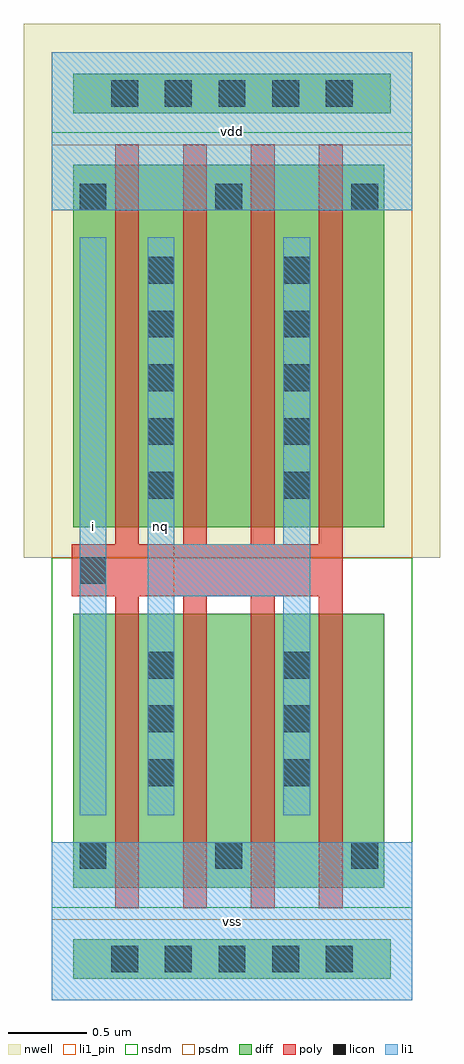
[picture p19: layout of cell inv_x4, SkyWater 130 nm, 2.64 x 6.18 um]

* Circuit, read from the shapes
.subckt inv_x4 i nq vdd vss
XM1 nq i vss VSUBS sky130_fd_pr__nfet_01v8 w=1.735 l=0.15 m=4
XM2 nq i vdd n1 sky130_fd_pr__pfet_01v8 w=2.295 l=0.15 m=4
.ends

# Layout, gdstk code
import gdstk
lib = gdstk.Library(unit=1e-6, precision=1e-09)
def R(c, l, rs):  # rectangles x0, y0, x1, y1
    for r in rs: c.add(gdstk.rectangle(r[:2], r[2:], *l))
def A(c, l, x, y, w, h, nx, ny, dx, dy):  # array of equal rectangles
    R(c, l, [(x+i*dx, y+j*dy, x+i*dx+w, y+j*dy+h) for i in range(nx) for j in range(ny)])
def P(c, l, *ps):  # polygons
    for p in ps: c.add(gdstk.Polygon(p, *l))
nwell = (64, 20)
diff = (65, 20)
poly = (66, 20)
licon = (66, 44)
li1_pin = (67, 16)
li1 = (67, 20)
nsdm = (93, 44)
psdm = (94, 20)

inv_x4 = lib.new_cell('inv_x4')
R(inv_x4, nwell, [(-0.18,2.8,2.46,6.18)])
R(inv_x4, diff, [(0.135,0.135,2.145,0.385), (0.135,0.71,2.105,2.445), (0.135,2.995,2.105,5.29), (0.135,5.615,2.145,5.865)])
P(inv_x4, poly, [(0.4,0.58),(0.4,2.555),(0.125,2.555),(0.125,2.885),(0.4,2.885),(0.4,5.42),(0.55,5.42),(0.55,2.885),(0.83,2.885),(0.83,5.42),(0.98,5.42),(0.98,2.885),(1.26,2.885),(1.26,5.42),(1.41,5.42),(1.41,2.885),(1.69,2.885),(1.69,5.42),(1.84,5.42),(1.84,0.58),(1.69,0.58),(1.69,2.555),(1.41,2.555),(1.41,0.58),(1.26,0.58),(1.26,2.555),(0.98,2.555),(0.98,0.58),(0.83,0.58),(0.83,2.555),(0.55,2.555),(0.55,0.58)])
A(inv_x4, licon, 0.375, 0.175, 0.17, 0.17, 5, 2, 0.34, 5.48)
A(inv_x4, licon, 0.175, 0.83, 0.17, 0.17, 3, 2, 0.86, 4.17)
A(inv_x4, licon, 0.605, 1.355, 0.17, 0.17, 1, 3, 0, 0.34)
A(inv_x4, licon, 1.465, 1.355, 0.17, 0.17, 1, 3, 0, 0.34)
A(inv_x4, licon, 0.605, 3.175, 0.17, 0.17, 1, 5, 0, 0.34)
A(inv_x4, licon, 1.465, 3.175, 0.17, 0.17, 1, 5, 0, 0.34)
R(inv_x4, licon, [(0.175,2.635,0.345,2.805)])
R(inv_x4, li1_pin, [(0,0,2.28,1), (0.175,1.17,0.345,4.83), (0.605,1.17,0.775,4.83), (0,5,2.28,6)])
R(inv_x4, li1, [(0,0,2.28,1), (0.175,1.17,0.345,4.83), (0,5,2.28,6)])
P(inv_x4, li1, [(0.605,1.17),(0.605,4.83),(0.775,4.83),(0.775,2.885),(1.465,2.885),(1.465,4.83),(1.635,4.83),(1.635,1.17),(1.465,1.17),(1.465,2.555),(0.775,2.555),(0.775,1.17)])
R(inv_x4, nsdm, [(0,0.585,2.28,2.8), (0,5.49,2.28,6)])
R(inv_x4, psdm, [(0,0,2.28,0.51), (0,2.8,2.28,5.415)])
inv_x4.add(gdstk.Label('vss', (1.14,0.5), layer=67, texttype=16))
inv_x4.add(gdstk.Label('vdd', (1.14,5.5), layer=67, texttype=16))
inv_x4.add(gdstk.Label('nq', (0.69,3), layer=67, texttype=16))
inv_x4.add(gdstk.Label('i', (0.26,3), layer=67, texttype=16))

lib.write_gds('inv_x4.gds')
